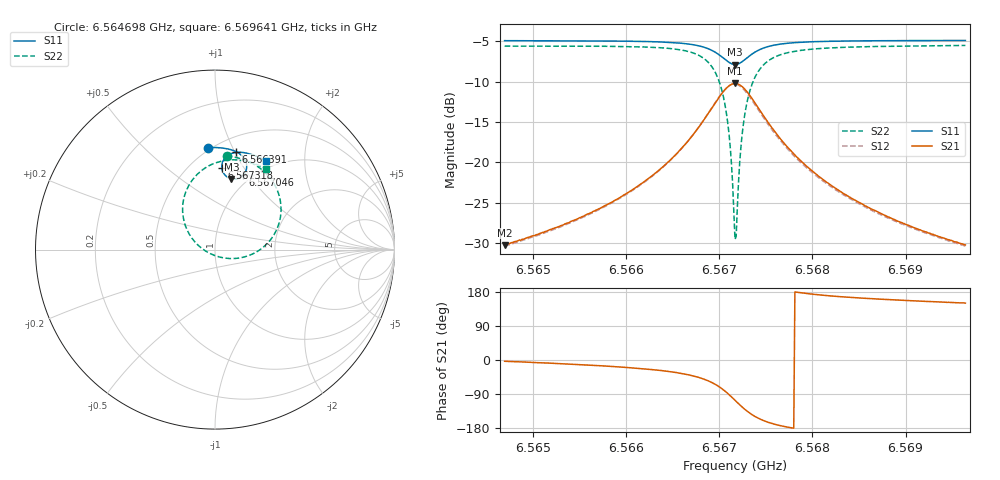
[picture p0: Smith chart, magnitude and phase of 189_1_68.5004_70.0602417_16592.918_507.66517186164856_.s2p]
#  HZ  S  RI  R  50.00
! Rohde & Schwarz Vector Network Analyzer
! Rohde-Schwarz,ZNB20-2Port,1311601062101988,3.16
! Created: UTC 3/20/2024, 5:12:09 PM
! freq[Hz]  re:S11  im:S11  re:S21  im:S21  re:S12  im:S12  re:S22  im:S22
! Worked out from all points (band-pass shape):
!   401 points, 6.564698 GHz to 6.569641 GHz, reference 50 ohm
!   highest |S21| = -10.21 dB at 6.56717 GHz (marker M1); lowest = -30.2 dB at 6.564698 GHz (marker M2)
!   |S21| within 3 dB of the highest: 6.566924 GHz to 6.567418 GHz (493.4 kHz wide, 0.00751 % of centre)
!   lowest |S11| = -7.9 dB at 6.56717 GHz (marker M3), VSWR 2.36, Z = 42.7 + j40.2 ohm
!   |S11| at or under -10 dB: nowhere
!   |S22| runs from -29.5 to -5.5 dB; largest |S21 - S12| = 0.015
!   S11 on the Smith chart (normalised r, x): 6.564698 GHz: 0.48, +0.81; 6.566391 GHz: 0.64, +1.01; 6.567046 GHz: 0.91, +0.94; 6.567318 GHz: 0.70, +0.80; 6.569641 GHz: 0.89, +1.31
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6.5646982e9  -0.0363 0.5679  0.0307 -0.00179  0.0302 -0.00219  0.065 0.5223
6.5655262e9  0.0329 0.5667  0.0449 -0.00992  0.0441 -0.0105  0.1475 0.5052
6.5663541e9  0.1138 0.5473  0.0795 -0.041  0.0784 -0.0418  0.2676 0.44
6.5663912e9  0.1181 0.5452  0.0824 -0.0441  0.081 -0.0453  0.275 0.4334
6.5666507e9  0.1503 0.523  0.1044 -0.0818  0.1028 -0.0835  0.3332 0.3597
6.5668485e9  0.1734 0.4855  0.1166 -0.1473  0.1137 -0.1504  0.3679 0.2332
6.5669597e9  0.1752 0.4487  0.101 -0.212  0.0954 -0.216  0.3431 0.1103
6.5670462e9  0.1575 0.4143  0.0533 -0.2705  0.0431 -0.2735  0.2541 0.00188
6.5670833e9  0.1419 0.402  0.0183 -0.2905  0.00606 -0.2917  0.1888 -0.0329
6.567108e9  0.1291 0.396  -0.00959 -0.299  -0.0226 -0.2983  0.1378 -0.0466
6.5671574e9  0.0994 0.3928  -0.0713 -0.2998  -0.0848 -0.2946  0.0267 -0.0418
6.5671698e9  0.0917 0.394  -0.0866 -0.2963  -0.1 -0.2896  -0.000455 -0.0333
6.5671821e9  0.0843 0.3961  -0.1017 -0.291  -0.1145 -0.2832  -0.0265 -0.0223
6.5671945e9  0.0773 0.3991  -0.1161 -0.2845  -0.1285 -0.2756  -0.0511 -0.00888
6.5672316e9  0.0589 0.4119  -0.1534 -0.2576  -0.1632 -0.246  -0.1133 0.0442
6.5672563e9  0.0497 0.4227  -0.1727 -0.2354  -0.18 -0.2228  -0.1433 0.0858
6.5673181e9  0.0383 0.4528  -0.1985 -0.1761  -0.201 -0.1634  -0.1787 0.193
6.5674169e9  0.0446 0.493  -0.1955 -0.0984  -0.1934 -0.0889  -0.1601 0.3279
6.5675652e9  0.0723 0.5251  -0.1603 -0.0355  -0.1567 -0.0303  -0.0843 0.4329
6.5679978e9  0.1405 0.5422  -0.0879 0.00958  -0.0858 0.0109  0.0729 0.4989
6.5688257e9  0.2219 0.5239  -0.0428 0.016  -0.0418 0.0166  0.2051 0.4838
6.5696414e9  0.2837 0.4952  -0.0267 0.0153  -0.0261 0.0154  0.2814 0.4507
